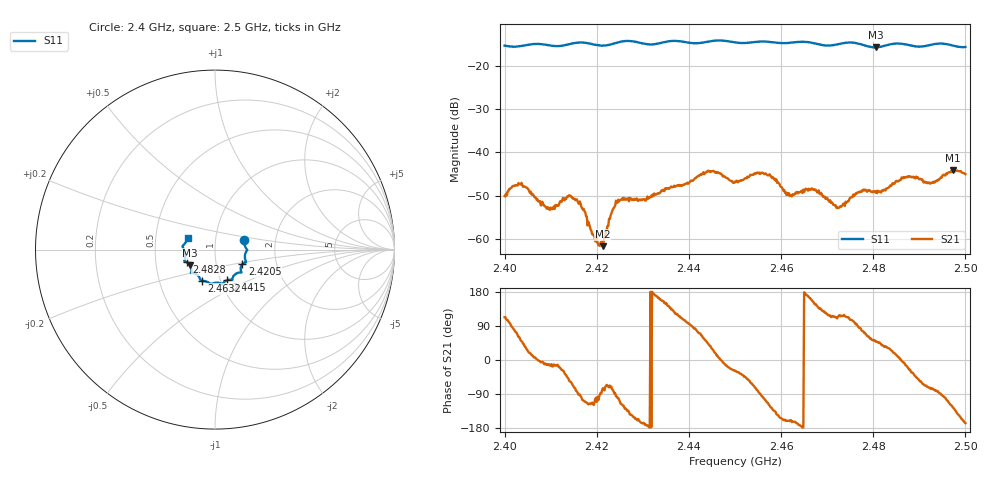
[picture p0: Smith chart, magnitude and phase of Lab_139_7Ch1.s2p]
# Hz S RI R 50
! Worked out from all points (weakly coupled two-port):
!   601 points, 2.4 GHz to 2.5 GHz, reference 50 ohm
!   highest |S21| = -44.14 dB at 2.4973 GHz (marker M1); lowest = -61.7 dB at 2.4213 GHz (marker M2)
!   lowest |S11| = -15.7 dB at 2.4805 GHz (marker M3), VSWR 1.39, Z = 37.3 - j6.69 ohm
!   |S11| at or under -10 dB: start of sweep to end of sweep
!   S12 and S22 are empty: the file has one direction only
!   S11 on the Smith chart (normalised r, x): 2.4 GHz: 1.38, +0.15; 2.4205 GHz: 1.34, -0.23; 2.4415 GHz: 1.07, -0.38; 2.4632 GHz: 0.82, -0.29; 2.4828 GHz: 0.72, -0.10; 2.5 GHz: 0.73, +0.10
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2.4e9  0.1639 0.0518  -0.00122 0.00288  0 0  0 0
2.403333e9  0.1687 0.0154  0.00236 0.00359  0 0  0 0
2.409333e9  0.1744 -0.0107  0.00227 -0.000465  0 0  0 0
2.414167e9  0.1696 -0.059  0.00174 -0.00264  0 0  0 0
2.416667e9  0.1732 -0.0699  -0.000345 -0.00231  0 0  0 0
2.4205e9  0.1519 -0.082  -9.99e-05 -0.000837  0 0  0 0
2.421333e9  0.1473 -0.0888  0.000221 -0.000789  0 0  0 0
2.424667e9  0.1454 -0.1195  -0.000502 -0.00279  0 0  0 0
2.433333e9  0.1005 -0.1515  -0.00323 0.000945  0 0  0 0
2.4415e9  0.0657 -0.1709  0.000833 0.00499  0 0  0 0
2.445e9  0.0433 -0.1898  0.00524 0.00301  0 0  0 0
2.45e9  0.0241 -0.186  0.00392 -0.00217  0 0  0 0
2.456167e9  -0.0218 -0.1906  -0.000999 -0.00565  0 0  0 0
2.463167e9  -0.0735 -0.1738  -0.0033 -0.000924  0 0  0 0
2.466667e9  -0.0821 -0.1667  -0.00355 0.00143  0 0  0 0
2.4725e9  -0.1228 -0.1306  -0.00101 0.00205  0 0  0 0
2.477333e9  -0.1315 -0.1201  0.000513 0.00349  0 0  0 0
2.4805e9  -0.139 -0.0873  0.00217 0.00264  0 0  0 0
2.482833e9  -0.1585 -0.07  0.00311 0.00221  0 0  0 0
2.483333e9  -0.1624 -0.0679  0.00333 0.00204  0 0  0 0
2.497333e9  -0.1689 0.0326  -0.00362 -0.00505  0 0  0 0
2.5e9  -0.1527 0.0645  -0.00544 -0.00128  0 0  0 0
